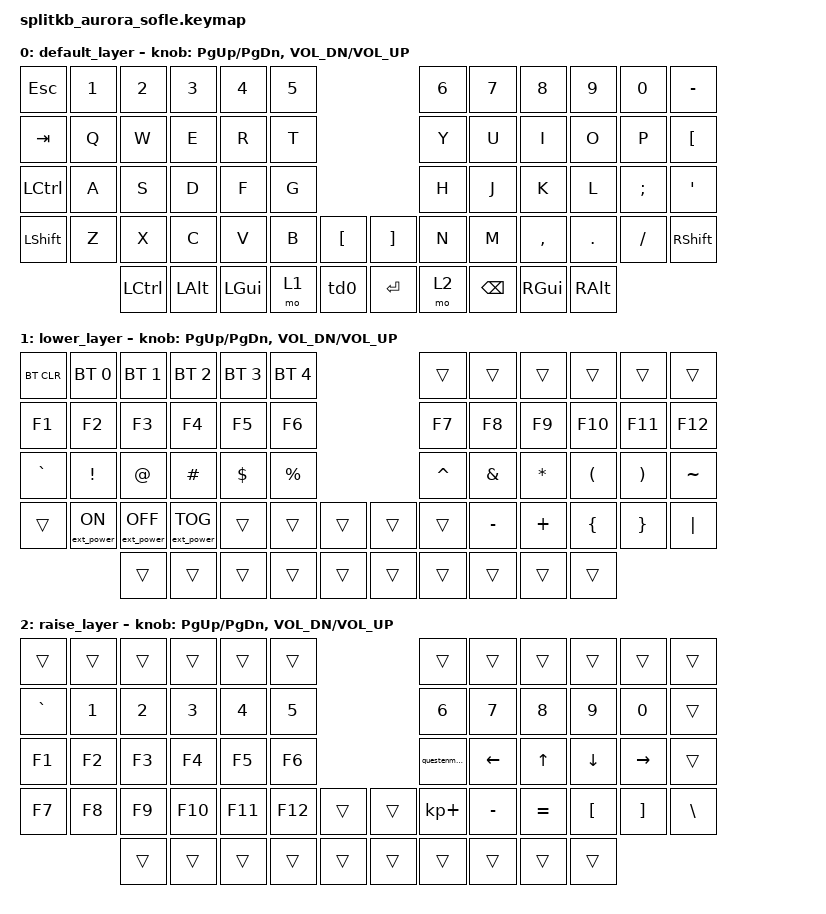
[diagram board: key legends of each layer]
/*
 * Copyright (c) 2023 The ZMK Contributors
 *
 * SPDX-License-Identifier: MIT
 */

#define ZMK_POINTING_DEFAULT_SCRL_VAL 1

#include <behaviors.dtsi>
#include <dt-bindings/zmk/keys.h>
#include <dt-bindings/zmk/bt.h>
#include <dt-bindings/zmk/ext_power.h>
#include <dt-bindings/zmk/pointing.h>

/* Uncomment this block if using RGB
&led_strip {
    chain-length = <6>;
    // chain-length = <35>; // Uncomment if using both per-key and underglow LEDs
    // chain-length = <29>; // Uncomment if using only per-key LEDs.
};
 */

/ {
        /*left_encoder: encoder_left {
          steps = <30>; // default is 80, datasheet says 15
        };

        right_encoder: encoder_right {
          steps = <30>; // default is 80, datasheet says 15
        };*/

        sensors {
          compatible = "zmk,keymap-sensors";
          //sensors = <&left_encoder &right_encoder>;
          triggers-per-rotation = <50>; // default is 20
        };

        macros {
        questenmark: questenmark {
            compatible = "zmk,behavior-macro";
            #binding-cells = <0>;
            bindings
                = <&macro_press &kp LSHFT>
                , <&macro_tap &kp MINUS>
                , <&macro_release &kp LSHFT>
                ;
        };
    };

        behaviors {
        td0: tap_dance_0 {
            compatible = "zmk,behavior-tap-dance";
            #binding-cells = <0>;
            tapping-term-ms = <300>;
            bindings = <&kp SPACE>, <&sk LSHFT>;
        };
/* mk_scroll_1: mk_scroll_down {
            compatible = "zmk,behavior-mouse-key";
            label = "Scroll Down";
            bindings = <&msc SCRL_DOWN>;
        };

        mk_scroll_2: mk_scroll_up {
            compatible = "zmk,behavior-mouse-key";
            label = "Scroll Up";
            bindings = <&msc SCRL_UP>;
        };

vol_down: vol_down {
    compatible = "zmk,behavior-key-press";
    label = "Volume Down";
    bindings = <&kp C_VOL_DN>;
};

vol_up: vol_up {
    compatible = "zmk,behavior-key-press";
    label = "Volume Up";
    bindings = <&kp C_VOL_UP>;
};
*/
    };
    keymap {
        compatible = "zmk,keymap";


    default_layer {
// ------------------------------------------------------------------------------------------------------------
// |  ESC  |  1  |  2  |  3   |  4   |  5   |                   |  6   |  7    |  8    |  9   |   0   |   `   |
// |  TAB  |  Q  |  W  |  E   |  R   |  T   |                   |  Y   |  U    |  I    |  O   |   P   |   -   |
// |  CTRL |  A  |  S  |  D   |  F   |  G   |                   |  H   |  J    |  K    |  L   |   ;   |   '   |
// | SHIFT |  Z  |  X  |  C   |  V   |  B   |   "["  |  |  "]"  |  N   |  M    |  ,    |  .   |   /   | SHIFT |
//               |CTRL | ALT  | GUI  | LOWER|  SPACE |  | ENTER | RAISE| BSPC  | GUI   | RALT |
            bindings = <
&kp ESC   &kp N1 &kp N2    &kp N3   &kp N4   &kp N5                     &kp N6 &kp N7   &kp N8    &kp N9   &kp N0   &kp MINUS
&kp TAB   &kp Q  &kp W     &kp E    &kp R    &kp T                      &kp Y  &kp U    &kp I     &kp O    &kp P    &kp LBKT
&kp LCTRL &kp A  &kp S     &kp D    &kp F    &kp G                      &kp H  &kp J    &kp K     &kp L    &kp SEMI &kp SQT
&kp LSHFT &kp Z  &kp X     &kp C    &kp V    &kp B  &kp LBKT   &kp RBKT &kp N  &kp M    &kp COMMA &kp DOT  &kp FSLH &kp RSHFT
                 &kp LCTRL &kp LALT &kp LGUI &mo 1  &td0       &kp RET  &mo 2  &kp BSPC &kp RGUI  &kp RALT
            >;

             sensor-bindings = <&inc_dec_kp PG_UP PG_DN &inc_dec_kp C_VOL_DN C_VOL_UP>;
        };

        lower_layer {
// ------------------------------------------------------------------------------------------------------------
// | BTCLR | BT1 | BT2 |  BT3 |  BT4 |  BT5 |                   |      |       |       |      |       |       |
// |  F1   |  F2 |  F3 |  F4  |  F5  |  F6  |                   |  F7  |  F8   |  F9   |  F10 |  F11  |  F12  |
// |   `   |  !  |  @  |  #   |  $   |  %   |                   |  ^   |  &    |  *    |  (   |   )   |   ~   |
// |       |     |     |      |      |      |        |  |       |      |  _    |  +    |  {   |   }   |  "|"  |
//               |     |      |      |      |        |  |       |      |       |       |      |
            bindings = <
&bt BT_CLR &bt BT_SEL 0     &bt BT_SEL 1      &bt BT_SEL 2      &bt BT_SEL 3 &bt BT_SEL 4                 &trans    &trans    &trans    &trans    &trans    &trans
&kp F1     &kp F2           &kp F3            &kp F4            &kp F5       &kp F6                       &kp F7    &kp F8    &kp F9    &kp F10   &kp F11   &kp F12
&kp GRAVE  &kp EXCL         &kp AT            &kp HASH          &kp DOLLAR   &kp PRCNT                    &kp CARET &kp AMPS  &kp STAR  &kp LPAR  &kp RPAR  &kp TILDE
&trans     &ext_power EP_ON &ext_power EP_OFF &ext_power EP_TOG &trans       &trans    &trans   &trans    &trans    &kp MINUS &kp PLUS  &kp LBRC  &kp RBRC  &kp PIPE
                            &trans            &trans            &trans       &trans    &trans   &trans    &trans    &trans    &trans    &trans
            >;

            sensor-bindings = <&inc_dec_kp PG_UP PG_DN &inc_dec_kp C_VOL_DN C_VOL_UP>;
        };

        raise_layer {
// DOWN
// |       |     |     |      |      |      |                   |      |       |       |      |       |       |
// |   `   |  1  |  2  |  3   |  4   |  5   |                   |  6   |   7   |   8   |  9   |   0   |       |
// |   F1  |  F2 |  F3 |  F4  |  F5  |  F6  |                   |  ?   |   <-  |   v   |  ^   |  ->   |       |
// |   F7  |  F8 |  F9 |  F10 |  F11 |  F12 |        |  |       |  +   |   -   |   =   |  [   |   ]   |   \   |
//               |     |      |      |      |        |  |       |      |       |       |      |
            bindings = <
&trans    &trans &trans &trans  &trans  &trans                       &trans      &trans    &trans    &trans   &trans    &trans
&kp GRAVE &kp N1 &kp N2 &kp N3  &kp N4  &kp N5                       &kp N6      &kp N7    &kp N8    &kp N9   &kp N0    &trans
&kp F1    &kp F2 &kp F3 &kp F4  &kp F5  &kp F6                       &questenmark      &kp LEFT  &kp UP  &kp DOWN   &kp RIGHT &trans
&kp F7    &kp F8 &kp F9 &kp F10 &kp F11 &kp F12   &trans   &trans    &kp KP_PLUS &kp MINUS &kp EQUAL &kp LBKT &kp RBKT  &kp BSLH
                 &trans &trans  &trans  &trans    &trans   &trans    &trans      &trans    &trans    &trans
            >;

            sensor-bindings = <&inc_dec_kp PG_UP PG_DN &inc_dec_kp C_VOL_DN C_VOL_UP>;
        };
    };
};
